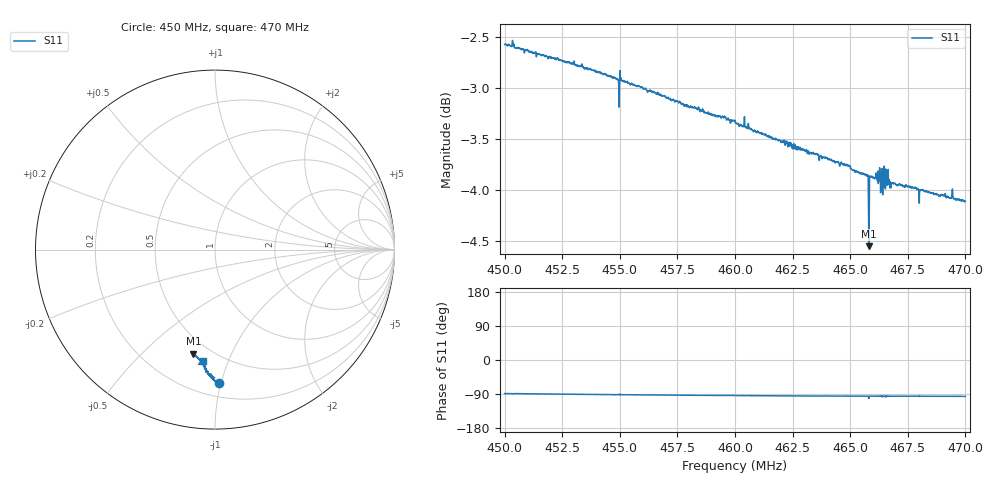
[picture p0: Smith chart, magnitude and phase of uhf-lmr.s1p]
! Calibrated averaged scanner-service zoom
# Hz S RI R 50
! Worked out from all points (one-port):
!   2001 points, 450 MHz to 470 MHz, reference 50 ohm
!   lowest |S11| = -4.6 dB at 465.81 MHz (marker M1), VSWR 3.90, Z = 20.4 - j36.4 ohm
!   |S11| at or under -10 dB: nowhere
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4.5e8  0.02 -0.7432
4.525e8  -0.00188 -0.7299
4.5484e8  -0.0186 -0.7152
4.5488e8  -0.0179 -0.7147
4.55e8  -0.0135 -0.7155
4.551e8  -0.0197 -0.7134
4.575e8  -0.0337 -0.6965
4.5924e8  -0.0422 -0.6841
4.5978e8  -0.0414 -0.6811
4.6e8  -0.0428 -0.681
4.6045e8  -0.0475 -0.6757
4.6054e8  -0.0479 -0.6748
4.6111e8  -0.0507 -0.6708
4.625e8  -0.0545 -0.6616
4.6366e8  -0.0607 -0.6495
4.65e8  -0.0602 -0.6453
4.6568e8  -0.061 -0.6388
4.6573e8  -0.0605 -0.6388
4.6581e8  -0.1208 -0.5796
4.6589e8  -0.0602 -0.6374
4.6594e8  -0.0605 -0.6373
4.6644e8  -0.0594 -0.6324
4.6647e8  -0.0629 -0.645
4.6653e8  -0.0537 -0.6293
4.6665e8  -0.067 -0.6421
4.6667e8  -0.0619 -0.6341
4.675e8  -0.061 -0.6305
4.7e8  -0.0654 -0.6194
